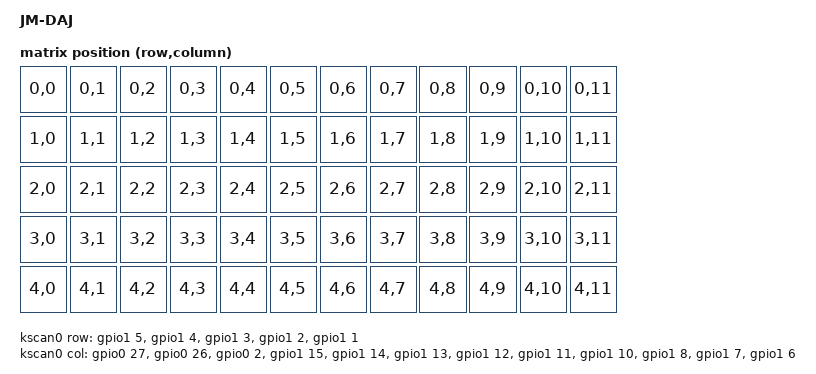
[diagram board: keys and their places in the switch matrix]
/dts-v1/;
#include <nordic/nrf52840_qiaa.dtsi>

/ {
    model = "JM-DAJ";
    compatible = "nordic,nrf52840-dk-nrf52840";

    chosen {
        zephyr,code-partition = &code_partition;
        zephyr,sram = &sram0;
        zephyr,flash = &flash0;
        zephyr,console = &uart0;
        zmk,kscan = &kscan0;
        zmk,matrix_transform = &default_transform;
    };

    default_transform: keymap_transform_0 {
        compatible = "zmk,matrix-transform";
        columns = <12>;
        rows = <5>;
        map = 
            RC(0,0) RC(0,1) RC(0,2) RC(0,3) RC(0,4) RC(0,5) RC(0,6) RC(0,7) RC(0,8) RC(0,9) RC(0,10) RC(0,11)
            RC(1,0) RC(1,1) RC(1,2) RC(1,3) RC(1,4) RC(1,5) RC(1,6) RC(1,7) RC(1,8) RC(1,9) RC(1,10) RC(1,11)
            RC(2,0) RC(2,1) RC(2,2) RC(2,3) RC(2,4) RC(2,5) RC(2,6) RC(2,7) RC(2,8) RC(2,9) RC(2,10) RC(2,11)
            RC(3,0) RC(3,1) RC(3,2) RC(3,3) RC(3,4) RC(3,5) RC(3,6) RC(3,7) RC(3,8) RC(3,9) RC(3,10) RC(3,11)
            RC(4,0) RC(4,1) RC(4,2) RC(4,3) RC(4,4) RC(4,5) RC(4,6) RC(4,7) RC(4,8) RC(4,9) RC(4,10) RC(4,11)
        >;
    };

    kscan0: kscan {
        compatible = "zmk,kscan-gpio-matrix";
        label = "KSCAN";

        diode-direction = "col2row";
        
        row-gpios
            = <&gpio1 5 (GPIO_ACTIVE_HIGH | GPIO_PULL_DOWN)>  // ROW 0 P1.05
            , <&gpio1 4 (GPIO_ACTIVE_HIGH | GPIO_PULL_DOWN)>  // ROW 1 P1.04
            , <&gpio1 3 (GPIO_ACTIVE_HIGH | GPIO_PULL_DOWN)>  // ROW 2 P1.03
            , <&gpio1 2 (GPIO_ACTIVE_HIGH | GPIO_PULL_DOWN)>  // ROW 3 P1.02
            , <&gpio1 1 (GPIO_ACTIVE_HIGH | GPIO_PULL_DOWN)>  // ROW 4 P1.01
            ;

        col-gpios
            = <&gpio0 27 GPIO_ACTIVE_HIGH>  // COLUMN 0  P0.27
            , <&gpio0 26 GPIO_ACTIVE_HIGH>  // COLUMN 1  P0.26
            , <&gpio0 2 GPIO_ACTIVE_HIGH>   // COLUMN 2  P0.02
            , <&gpio1 15 GPIO_ACTIVE_HIGH>  // COLUMN 3  P1.15
            , <&gpio1 14 GPIO_ACTIVE_HIGH>  // COLUMN 4  P1.14
            , <&gpio1 13 GPIO_ACTIVE_HIGH>  // COLUMN 5  P1.13
            , <&gpio1 12 GPIO_ACTIVE_HIGH>  // COLUMN 6  P1.12
            , <&gpio1 11 GPIO_ACTIVE_HIGH>  // COLUMN 7  P1.11
            , <&gpio1 10 GPIO_ACTIVE_HIGH>  // COLUMN 8  P1.10
            , <&gpio1 8 GPIO_ACTIVE_HIGH>   // COLUMN 9  P1.08
            , <&gpio1 7 GPIO_ACTIVE_HIGH>   // COLUMN 10 P1.07
            , <&gpio1 6 GPIO_ACTIVE_HIGH>   // COLUMN 11 P1.06
            ;
    };
};

&adc {
    status = "okay";
};

&gpiote {
    status = "okay";
};

&gpio0 {
    status = "okay";
};

&gpio1 {
    status = "okay";
};

&uart0 {
    compatible = "nordic,nrf-uart";
    current-speed = <115200>;
    status = "okay";
    tx-pin = <6>;
    rx-pin = <8>;
    rts-pin = <5>;
    cts-pin = <7>;
};

&flash0 {
    partitions {
        compatible = "fixed-partitions";
        #address-cells = <1>;
        #size-cells = <1>;

        boot_partition: partition@0 {
            label = "mcuboot";
            reg = <0x000000000 0x0000C000>;
        };
        slot0_partition: partition@c000 {
            label = "image-0";
            reg = <0x0000C000 0x00067000>;
        };
        slot1_partition: partition@73000 {
            label = "image-1";
            reg = <0x00073000 0x00067000>;
        };
        scratch_partition: partition@da000 {
            label = "image-scratch";
            reg = <0x000da000 0x0001e000>;
        };
        storage_partition: partition@f8000 {
            label = "storage";
            reg = <0x000f8000 0x00008000>;
        };

        code_partition: partition@0 {
            label = "code_partition";
            reg = <0x0000C000 0x00067000>;
        };
    };
};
